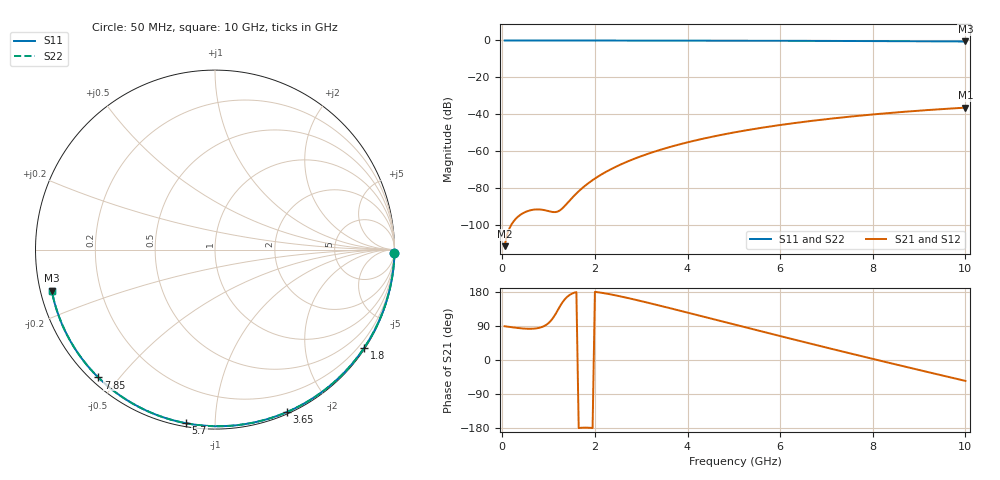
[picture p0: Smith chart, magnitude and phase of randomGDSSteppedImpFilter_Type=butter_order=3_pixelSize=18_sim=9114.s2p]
! freq	dB(S11)	phase(S11)	dB(S12)	phase(S12)
!  dB(S21)	phase(S21)	dB(S22)	phase(S22)
!S-par simulation data
#  GHz  S  DB  R 50
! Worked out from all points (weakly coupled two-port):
!   200 points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, 50 MHz to 10 GHz, reference 50 ohm
!   highest |S21| = -36.39 dB at 10 GHz (marker M1); lowest = -111.4 dB at 50 MHz (marker M2)
!   lowest |S11| = -0.6 dB at 10 GHz (marker M3), VSWR 31.24, Z = 1.62 - j6.19 ohm
!   |S11| at or under -10 dB: nowhere
!   |S22| runs from -0.6 to 0.0 dB; largest |S21 - S12| = 0
!   S11 on the Smith chart (normalised r, x): 50 MHz: open; 1.8 GHz: 0.03, -3.33; 3.65 GHz: 0.02, -1.54; 5.7 GHz: 0.02, -0.85; 7.85 GHz: 0.02, -0.44; 10 GHz: 0.03, -0.12
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0.05  -0.00 -0.9  -111.40 89.1  -111.40 89.1  -0.00 -0.9
0.45  -0.01 -8.5  -93.49 83.1  -93.49 83.1  -0.01 -8.5
0.85  -0.02 -16.0  -91.63 86.8  -91.63 86.8  -0.02 -16.0
1.7  -0.04 -31.6  -80.53 -178.9  -80.53 -178.9  -0.04 -31.6
1.75  -0.04 -32.5  -79.45 -178.5  -79.45 -178.5  -0.04 -32.5
1.8  -0.04 -33.5  -78.43 -178.4  -78.43 -178.4  -0.04 -33.5
1.95  -0.05 -36.2  -75.64 -179.5  -75.64 -179.5  -0.05 -36.2
2.1  -0.05 -38.9  -73.19 178.2  -73.19 178.2  -0.05 -38.9
2.45  -0.06 -45.1  -68.42 170.5  -68.42 170.5  -0.06 -45.1
2.9  -0.07 -53.1  -63.59 158.3  -63.59 158.3  -0.07 -53.1
3.4  -0.08 -61.7  -59.31 143.5  -59.31 143.5  -0.08 -61.7
3.65  -0.09 -66.0  -57.47 135.9  -57.47 135.9  -0.09 -66.0
4.3  -0.11 -76.9  -53.39 115.8  -53.39 115.8  -0.11 -76.9
5.05  -0.14 -89.1  -49.60 92.5  -49.60 92.5  -0.14 -89.1
5.7  -0.17 -99.4  -46.90 72.4  -46.90 72.4  -0.17 -99.4
6.2  -0.19 -107.2  -45.09 57.0  -45.09 57.0  -0.19 -107.2
6.7  -0.23 -114.9  -43.49 41.8  -43.49 41.8  -0.23 -114.9
7.25  -0.27 -123.3  -41.93 25.2  -41.93 25.2  -0.27 -123.3
7.85  -0.31 -132.4  -40.42 7.4  -40.42 7.4  -0.31 -132.4
8.35  -0.36 -140.0  -39.30 -7.4  -39.30 -7.4  -0.36 -140.0
9.2  -0.45 -153.1  -37.66 -32.1  -37.66 -32.1  -0.45 -153.1
10  -0.56 -165.9  -36.39 -55.1  -36.39 -55.1  -0.56 -165.9
